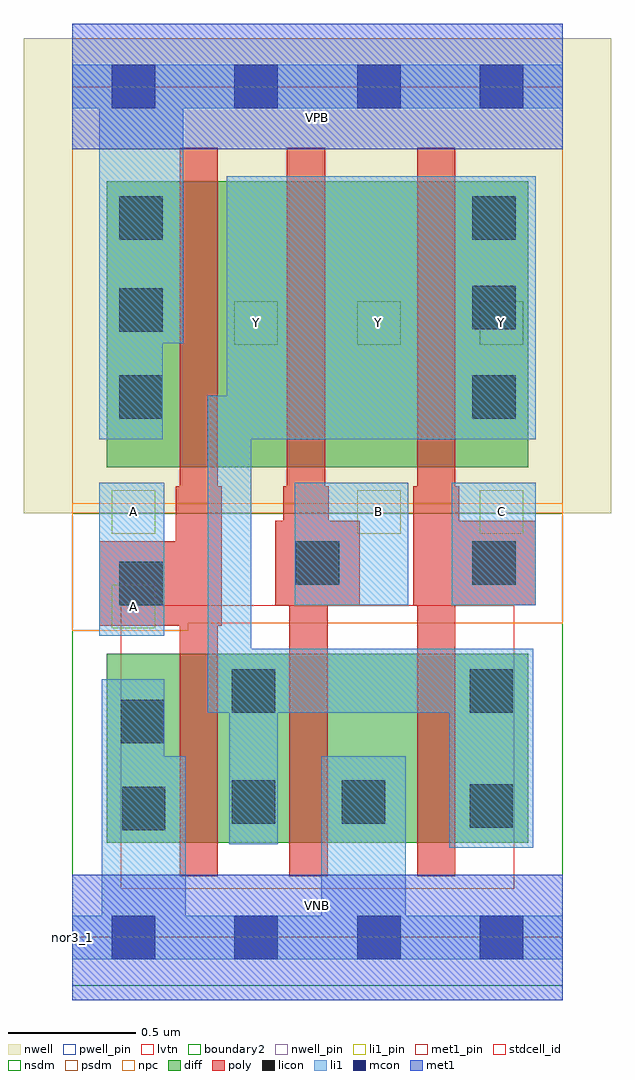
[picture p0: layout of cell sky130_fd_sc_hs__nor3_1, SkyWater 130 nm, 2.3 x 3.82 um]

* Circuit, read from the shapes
.subckt sky130_fd_sc_hs__nor3_1 A B C VGND VNB VPB VPWR Y
XM1 Y A VGND VNB sky130_fd_pr__nfet_01v8_lvt w=0.74 l=0.15
XM2 VGND B Y VNB sky130_fd_pr__nfet_01v8_lvt w=0.74 l=0.15
XM3 Y C VGND VNB sky130_fd_pr__nfet_01v8_lvt w=0.74 l=0.15
XM4 n1 A VPWR VPB sky130_fd_pr__pfet_01v8 w=1.12 l=0.15
XM5 n2 B n1 VPB sky130_fd_pr__pfet_01v8 w=1.12 l=0.15
XM6 Y C n2 VPB sky130_fd_pr__pfet_01v8 w=1.12 l=0.15
.ends

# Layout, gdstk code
import gdstk
lib = gdstk.Library(unit=1e-6, precision=1e-09)
def R(c, l, rs):  # rectangles x0, y0, x1, y1
    for r in rs: c.add(gdstk.rectangle(r[:2], r[2:], *l))
def A(c, l, x, y, w, h, nx, ny, dx, dy):  # array of equal rectangles
    R(c, l, [(x+i*dx, y+j*dy, x+i*dx+w, y+j*dy+h) for i in range(nx) for j in range(ny)])
def P(c, l, *ps):  # polygons
    for p in ps: c.add(gdstk.Polygon(p, *l))
nwell_pin = (64, 16)
nwell = (64, 20)
diff = (65, 20)
poly = (66, 20)
licon = (66, 44)
li1_pin = (67, 16)
li1 = (67, 20)
mcon = (67, 44)
met1_pin = (68, 16)
met1 = (68, 20)
stdcell_id = (81, 4)
nsdm = (93, 44)
psdm = (94, 20)
npc = (95, 20)
pwell_pin = (122, 16)
lvtn = (125, 44)
boundary2 = (236, 0)

sky130_fd_sc_hs__nor3_1 = lib.new_cell('sky130_fd_sc_hs__nor3_1')
R(sky130_fd_sc_hs__nor3_1, nwell_pin, [(0,3.085,1.92,3.33)])
R(sky130_fd_sc_hs__nor3_1, nwell, [(-0.19,1.66,2.11,3.52)])
R(sky130_fd_sc_hs__nor3_1, diff, [(0.135,0.37,1.785,1.11), (0.135,1.84,1.785,2.96)])
P(sky130_fd_sc_hs__nor3_1, poly, [(1.815,1.63),(1.515,1.63),(1.515,1.765),(1.5,1.765),(1.5,3.09),(1.35,3.09),(1.35,1.765),(1.335,1.765),(1.335,1.3),(1.35,1.3),(1.35,0.24),(1.5,0.24),(1.5,1.3),(1.815,1.3)],
  [(1.125,1.63),(1.005,1.63),(1.005,1.765),(0.99,1.765),(0.99,3.09),(0.84,3.09),(0.84,1.765),(0.825,1.765),(0.825,1.63),(0.795,1.63),(0.795,1.3),(0.85,1.3),(0.85,0.24),(1,0.24),(1,1.3),(1.125,1.3)],
  [(0.585,1.765),(0.57,1.765),(0.57,3.09),(0.42,3.09),(0.42,1.765),(0.405,1.765),(0.405,1.55),(0.105,1.55),(0.105,1.22),(0.42,1.22),(0.42,0.24),(0.57,0.24),(0.57,1.22),(0.585,1.22)])
A(sky130_fd_sc_hs__nor3_1, licon, 1.565, 2.03, 0.17, 0.17, 1, 3, 0, 0.35)
R(sky130_fd_sc_hs__nor3_1, licon, [(0.195,0.42,0.365,0.59), (1.555,0.43,1.725,0.6), (0.625,0.445,0.795,0.615), (1.055,0.445,1.225,0.615), (0.19,0.76,0.36,0.93), (0.625,0.88,0.795,1.05), (1.555,0.88,1.725,1.05), (0.185,1.3,0.355,1.47), (0.875,1.38,1.045,1.55), (1.565,1.38,1.735,1.55), (0.185,2.03,0.355,2.2), (0.185,2.37,0.355,2.54), (0.185,2.73,0.355,2.9)])
A(sky130_fd_sc_hs__nor3_1, li1_pin, 0.635, 2.32, 0.17, 0.17, 3, 1, 0.48, 0)
R(sky130_fd_sc_hs__nor3_1, li1_pin, [(0.155,1.21,0.325,1.38), (0.155,1.58,0.325,1.75), (1.115,1.58,1.285,1.75), (1.595,1.58,1.765,1.75)])
R(sky130_fd_sc_hs__nor3_1, li1, [(0.105,1.18,0.36,1.78), (0.87,1.3,1.315,1.78), (1.485,1.3,1.815,1.78)])
P(sky130_fd_sc_hs__nor3_1, li1, [(1.815,2.98),(0.605,2.98),(0.605,2.12),(0.53,2.12),(0.53,0.88),(0.615,0.88),(0.615,0.365),(0.805,0.365),(0.805,0.88),(1.475,0.88),(1.475,0.35),(1.805,0.35),(1.805,1.13),(0.7,1.13),(0.7,1.95),(1.815,1.95)],
  [(1.92,3.415),(0,3.415),(0,3.245),(0.105,3.245),(0.105,1.95),(0.355,1.95),(0.355,2.325),(0.435,2.325),(0.435,3.245),(1.92,3.245)],
  [(1.92,0.085),(1.305,0.085),(1.305,0.71),(0.975,0.71),(0.975,0.085),(0.445,0.085),(0.445,0.71),(0.36,0.71),(0.36,1.01),(0.115,1.01),(0.115,0.085),(0,0.085),(0,-0.085),(1.92,-0.085)])
A(sky130_fd_sc_hs__nor3_1, mcon, 0.155, -0.085, 0.17, 0.17, 4, 2, 0.48, 3.33)
R(sky130_fd_sc_hs__nor3_1, met1_pin, [(0,0,1.92,0.245), (0,3.085,1.92,3.33)])
R(sky130_fd_sc_hs__nor3_1, met1, [(0,-0.245,1.92,0.245), (0,3.085,1.92,3.575)])
R(sky130_fd_sc_hs__nor3_1, stdcell_id, [(0,0,1.92,3.33)])
R(sky130_fd_sc_hs__nor3_1, nsdm, [(0,-0.19,1.92,1.66)])
R(sky130_fd_sc_hs__nor3_1, psdm, [(0,1.66,1.92,3.52)])
P(sky130_fd_sc_hs__nor3_1, npc, [(1.92,1.7),(0,1.7),(0,1.2),(0.455,1.2),(0.455,1.23),(1.92,1.23)])
R(sky130_fd_sc_hs__nor3_1, pwell_pin, [(0,0,1.92,0.245)])
R(sky130_fd_sc_hs__nor3_1, lvtn, [(0.19,0.19,1.73,1.3)])
R(sky130_fd_sc_hs__nor3_1, boundary2, [(0,0,1.92,3.33)])
sky130_fd_sc_hs__nor3_1.add(gdstk.Label('nor3_1', (0,0), layer=83, texttype=44))
sky130_fd_sc_hs__nor3_1.add(gdstk.Label('VNB', (0.96,0.123), layer=64, texttype=59))
sky130_fd_sc_hs__nor3_1.add(gdstk.Label('VPB', (0.96,3.208), layer=64, texttype=5))
sky130_fd_sc_hs__nor3_1.add(gdstk.Label('VPWR', (0.96,3.208), layer=68, texttype=5))
sky130_fd_sc_hs__nor3_1.add(gdstk.Label('VGND', (0.96,0.123), layer=68, texttype=5))
sky130_fd_sc_hs__nor3_1.add(gdstk.Label('Y', (0.72,2.405), layer=67, texttype=5))
sky130_fd_sc_hs__nor3_1.add(gdstk.Label('Y', (1.2,2.405), layer=67, texttype=5))
sky130_fd_sc_hs__nor3_1.add(gdstk.Label('Y', (1.68,2.405), layer=67, texttype=5))
sky130_fd_sc_hs__nor3_1.add(gdstk.Label('C', (1.68,1.665), layer=67, texttype=5))
sky130_fd_sc_hs__nor3_1.add(gdstk.Label('B', (1.2,1.665), layer=67, texttype=5))
sky130_fd_sc_hs__nor3_1.add(gdstk.Label('A', (0.24,1.295), layer=67, texttype=5))
sky130_fd_sc_hs__nor3_1.add(gdstk.Label('A', (0.24,1.665), layer=67, texttype=5))

lib.write_gds('sky130_fd_sc_hs__nor3_1.gds')
